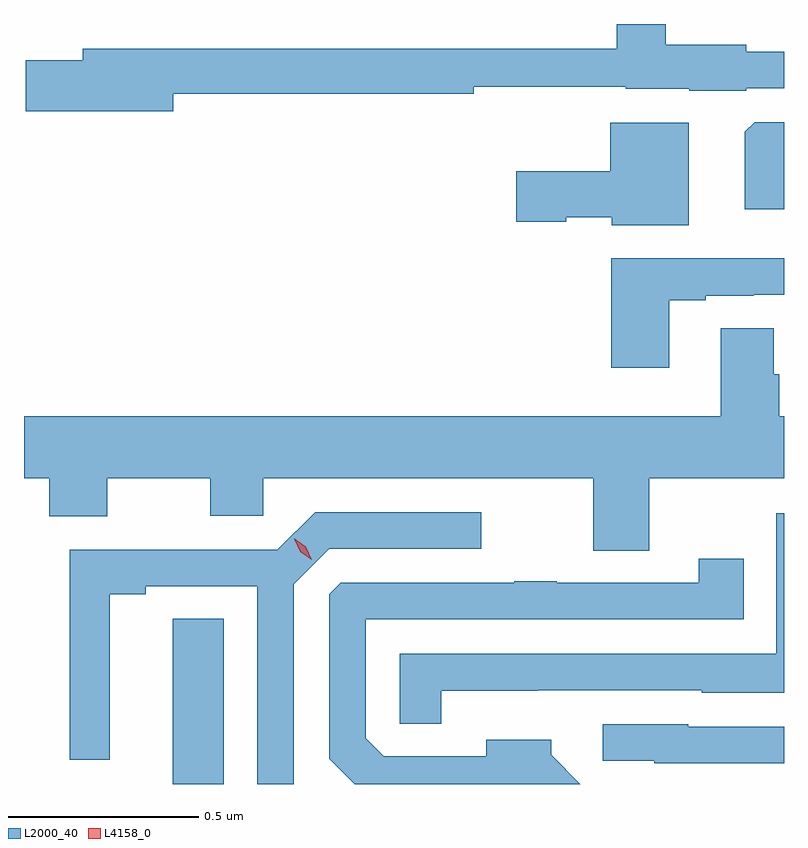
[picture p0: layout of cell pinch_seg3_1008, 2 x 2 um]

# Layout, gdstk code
import gdstk
lib = gdstk.Library(unit=1e-6, precision=1e-09)
def R(c, l, rs):  # rectangles x0, y0, x1, y1
    for r in rs: c.add(gdstk.rectangle(r[:2], r[2:], *l))
def P(c, l, *ps):  # polygons
    for p in ps: c.add(gdstk.Polygon(p, *l))
L2000_40 = (2000, 40)
L4158_0 = (4158, 0)

pinch_seg3_1008 = lib.new_cell('pinch_seg3_1008')
R(pinch_seg3_1008, L2000_40, [(466.574,742.736,466.708,743.171)])
P(pinch_seg3_1008, L2000_40, [(466.576,744.553),(467.366,744.553),(467.366,744.571),(467.766,744.571),(467.766,744.566),(467.934,744.566),(467.934,744.56),(468.084,744.56),(468.084,744.567),(468.183,744.567),(468.183,744.663),(468.084,744.663),(468.084,744.682),(467.872,744.682),(467.872,744.736),(467.743,744.736),(467.743,744.671),(466.337,744.671),(466.337,744.64),(466.188,744.64),(466.188,744.506),(466.576,744.506)],
  [(468.183,744.478),(468.106,744.478),(468.08,744.452),(468.08,744.248),(468.183,744.248)],
  [(467.932,744.476),(467.726,744.476),(467.726,744.349),(467.478,744.349),(467.478,744.215),(467.61,744.215),(467.61,744.227),(467.73,744.227),(467.73,744.206),(467.932,744.206)],
  [(467.881,744.009),(467.977,744.009),(467.977,744.021),(468.104,744.021),(468.104,744.024),(468.183,744.024),(468.183,744.119),(467.729,744.119),(467.729,743.832),(467.881,743.832)],
  [(467.829,743.54),(468.183,743.54),(468.183,743.704),(468.17,743.704),(468.17,743.814),(468.156,743.814),(468.156,743.936),(468.017,743.936),(468.017,743.704),(466.183,743.704),(466.183,743.54),(466.25,743.54),(466.25,743.441),(466.402,743.441),(466.402,743.54),(466.673,743.54),(466.673,743.442),(466.812,743.442),(466.812,743.54),(467.681,743.54),(467.681,743.35),(467.829,743.35)],
  [(466.893,743.262),(466.986,743.355),(467.386,743.355),(467.386,743.451),(466.949,743.451),(466.85,743.352),(466.304,743.352),(466.304,742.8),(466.408,742.8),(466.408,743.236),(466.504,743.236),(466.504,743.256),(466.797,743.256),(466.797,742.736),(466.893,742.736)],
  [(467.281,742.982),(467.535,742.982),(467.535,742.983),(467.967,742.983),(467.967,742.976),(468.183,742.976),(468.183,743.448),(468.162,743.448),(468.162,743.079),(467.172,743.079),(467.172,742.894),(467.281,742.894)],
  [(467.57,742.813),(467.57,742.852),(467.399,742.852),(467.399,742.809),(467.13,742.809),(467.082,742.857),(467.082,743.169),(468.077,743.169),(468.077,743.329),(467.959,743.329),(467.959,743.265),(467.585,743.265),(467.585,743.27),(467.473,743.27),(467.473,743.265),(467.016,743.265),(466.986,743.235),(466.986,742.803),(467.053,742.736),(467.647,742.736)],
  [(468.183,742.887),(467.931,742.887),(467.931,742.893),(467.706,742.893),(467.706,742.797),(467.841,742.797),(467.841,742.79),(468.183,742.79)])
P(pinch_seg3_1008, L4158_0, [(466.94,743.326),(466.91,743.347),(466.894,743.381),(466.894,743.382),(466.895,743.382),(466.925,743.36),(466.94,743.326),(466.94,743.326)])

lib.write_gds('pinch_seg3_1008.gds')
